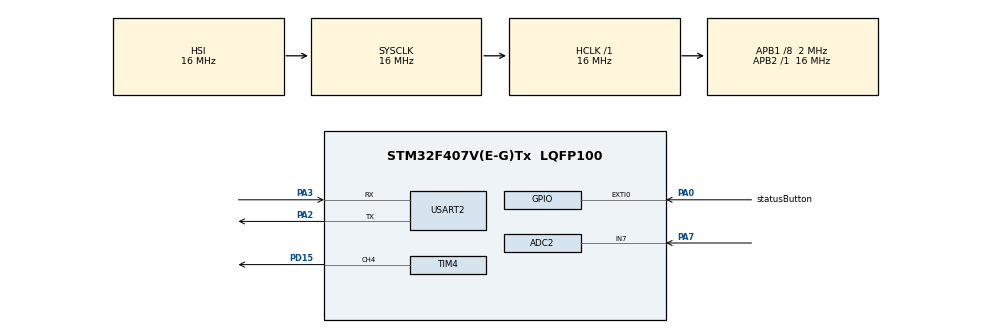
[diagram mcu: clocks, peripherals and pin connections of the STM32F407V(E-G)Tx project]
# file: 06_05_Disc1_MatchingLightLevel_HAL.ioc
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ADC2.Channel-4\#ChannelRegularConversion=ADC_CHANNEL_7
ADC2.NbrOfConversionFlag=1
ADC2.Rank-4\#ChannelRegularConversion=1
ADC2.SamplingTime-4\#ChannelRegularConversion=ADC_SAMPLETIME_3CYCLES
Mcu.Family=STM32F4
Mcu.Name=STM32F407V(E-G)Tx
Mcu.Package=LQFP100
NVIC.EXTI0_IRQn=true\:0\:0\:false\:false\:true\:true\:true\:true
NVIC.PriorityGroup=NVIC_PRIORITYGROUP_4
PA0-WKUP.GPIO_Label=statusButton
PA0-WKUP.Signal=GPXTI0
PA2.Mode=Asynchronous
PA2.Signal=USART2_TX
PA3.Mode=Asynchronous
PA3.Signal=USART2_RX
PA7.Signal=ADCx_IN7
PD15.Signal=S_TIM4_CH4
PH0-OSC_IN.Mode=HSE-External-Oscillator
PH0-OSC_IN.Signal=RCC_OSC_IN
PH1-OSC_OUT.Mode=HSE-External-Oscillator
PH1-OSC_OUT.Signal=RCC_OSC_OUT
ProjectManager.HeapSize=0x200
ProjectManager.StackSize=0x400
ProjectManager.TargetToolchain=STM32CubeIDE
RCC.48MHZClocksFreq_Value=24000000
RCC.AHBFreq_Value=16000000
RCC.APB1CLKDivider=RCC_HCLK_DIV8
RCC.APB1Freq_Value=2000000
RCC.APB1TimFreq_Value=4000000
RCC.APB2Freq_Value=16000000
RCC.CortexFreq_Value=16000000
RCC.HSE_VALUE=8000000
RCC.HSI_VALUE=16000000
RCC.LSE_VALUE=32768
RCC.PLLSourceVirtual=RCC_PLLSOURCE_HSE
RCC.SYSCLKFreq_VALUE=16000000
RCC.VCOOutputFreq_Value=96000000
SH.ADCx_IN7.0=ADC2_IN7,IN7
SH.S_TIM4_CH4.0=TIM4_CH4,PWM Generation4 CH4
TIM4.Channel-PWM\ Generation4\ CH4=TIM_CHANNEL_4
TIM4.Period=100
TIM4.Prescaler=16
USART2.VirtualMode=VM_ASYNC
board=custom

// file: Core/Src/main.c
/* USER CODE BEGIN Header */
/**
  ******************************************************************************
  * @file           : main.c
  * @brief          : Main program body
  ******************************************************************************
  * @attention
  *
  * Copyright (c) 2025 STMicroelectronics.
  * All rights reserved.
  *
  * This software is licensed under terms that can be found in the LICENSE file
  * in the root directory of this software component.
  * If no LICENSE file comes with this software, it is provided AS-IS.
  *
  ******************************************************************************
  */
/* USER CODE END Header */
#include "main.h"

ADC_HandleTypeDef hadc2;

TIM_HandleTypeDef htim4;

UART_HandleTypeDef huart2;

/* USER CODE BEGIN PV */

uint8_t status;
uint8_t isFirst;
/* USER CODE END PV */

void SystemClock_Config(void);
static void MX_GPIO_Init(void);
static void MX_TIM4_Init(void);
static void MX_ADC2_Init(void);
static void MX_USART2_UART_Init(void);

int main(void)
{

  /* USER CODE BEGIN 1 */
	uint8_t duty = 10;
	uint16_t adcValue = 0;
	status = 0x1;
	isFirst = 0x1;
  /* USER CODE END 1 */

  /* MCU Configuration--------------------------------------------------------*/

  /* Reset of all peripherals, Initializes the Flash interface and the Systick. */
  HAL_Init();

  /* Configure the system clock */
  SystemClock_Config();

  /* Initialize all configured peripherals */
  MX_GPIO_Init();
  MX_TIM4_Init();
  MX_ADC2_Init();
  MX_USART2_UART_Init();
  /* USER CODE BEGIN 2 */
  TIM4->CCR4 = duty;
  HAL_TIM_PWM_Start(&htim4, TIM_CHANNEL_4);
  /* USER CODE END 2 */

  /* Infinite loop */
  /* USER CODE BEGIN WHILE */
  while (1)
  {
	  if(status == 1){
		  if(isFirst == 1){
			  TIM4->CCR4 = 100;
			  HAL_Delay(100);
			  TIM4->CCR4 = 0;
			  HAL_Delay(100);
			  isFirst = 0;
		  }
		// first way
		HAL_UART_Receive(&huart2, &duty, 1, 20);
		if (duty == 200){
			  status ^= 0x1;
			  isFirst = 1;
		}
		TIM4->CCR4 = duty;
	  }
	  else if (status == 0){
		  if(isFirst == 1){
			  TIM4->CCR4 = 100;
			  HAL_Delay(100);
			  TIM4->CCR4 = 0;
			  HAL_Delay(100);
			  TIM4->CCR4 = 100;
			  HAL_Delay(100);
			  TIM4->CCR4 = 0;
			  HAL_Delay(100);
			  isFirst = 0;
		  }
		  // second way
		  HAL_ADC_Start(&hadc2);
		  HAL_ADC_PollForConversion(&hadc2, HAL_MAX_DELAY);
		  adcValue = HAL_ADC_GetValue(&hadc2);
		  duty = (int)((adcValue / 4096.0) * 100);
		  HAL_ADC_Stop(&hadc2);

		  HAL_UART_Transmit(&huart2, &duty, 1, 20);
		  TIM4->CCR4 = duty;

		  HAL_UART_Receive(&huart2, &duty, 1, 20);
		  if (duty == 200){
			  status ^= 0x1;
			  isFirst = 1;
		  }
	  }

    /* USER CODE END WHILE */

  }
}

void SystemClock_Config(void)
{
  RCC_OscInitTypeDef RCC_OscInitStruct = {0};
  RCC_ClkInitTypeDef RCC_ClkInitStruct = {0};

  /** Configure the main internal regulator output voltage
  */
  __HAL_RCC_PWR_CLK_ENABLE();
  __HAL_PWR_VOLTAGESCALING_CONFIG(PWR_REGULATOR_VOLTAGE_SCALE1);

  /** Initializes the RCC Oscillators according to the specified parameters
  * in the RCC_OscInitTypeDef structure.
  */
  RCC_OscInitStruct.OscillatorType = RCC_OSCILLATORTYPE_HSI;
  RCC_OscInitStruct.HSIState = RCC_HSI_ON;
  RCC_OscInitStruct.HSICalibrationValue = RCC_HSICALIBRATION_DEFAULT;
  RCC_OscInitStruct.PLL.PLLState = RCC_PLL_NONE;
  if (HAL_RCC_OscConfig(&RCC_OscInitStruct) != HAL_OK)
  {
    Error_Handler();
  }

  /** Initializes the CPU, AHB and APB buses clocks
  */
  RCC_ClkInitStruct.ClockType = RCC_CLOCKTYPE_HCLK|RCC_CLOCKTYPE_SYSCLK
                              |RCC_CLOCKTYPE_PCLK1|RCC_CLOCKTYPE_PCLK2;
  RCC_ClkInitStruct.SYSCLKSource = RCC_SYSCLKSOURCE_HSI;
  RCC_ClkInitStruct.AHBCLKDivider = RCC_SYSCLK_DIV1;
  RCC_ClkInitStruct.APB1CLKDivider = RCC_HCLK_DIV8;
  RCC_ClkInitStruct.APB2CLKDivider = RCC_HCLK_DIV1;

  if (HAL_RCC_ClockConfig(&RCC_ClkInitStruct, FLASH_LATENCY_0) != HAL_OK)
  {
    Error_Handler();
  }
}

static void MX_ADC2_Init(void)
{

  ADC_ChannelConfTypeDef sConfig = {0};

  /** Configure the global features of the ADC (Clock, Resolution, Data Alignment and number of conversion)
  */
  hadc2.Instance = ADC2;
  hadc2.Init.ClockPrescaler = ADC_CLOCK_SYNC_PCLK_DIV2;
  hadc2.Init.Resolution = ADC_RESOLUTION_12B;
  hadc2.Init.ScanConvMode = DISABLE;
  hadc2.Init.ContinuousConvMode = DISABLE;
  hadc2.Init.DiscontinuousConvMode = DISABLE;
  hadc2.Init.ExternalTrigConvEdge = ADC_EXTERNALTRIGCONVEDGE_NONE;
  hadc2.Init.ExternalTrigConv = ADC_SOFTWARE_START;
  hadc2.Init.DataAlign = ADC_DATAALIGN_RIGHT;
  hadc2.Init.NbrOfConversion = 1;
  hadc2.Init.DMAContinuousRequests = DISABLE;
  hadc2.Init.EOCSelection = ADC_EOC_SINGLE_CONV;
  if (HAL_ADC_Init(&hadc2) != HAL_OK)
  {
    Error_Handler();
  }

  /** Configure for the selected ADC regular channel its corresponding rank in the sequencer and its sample time.
  */
  sConfig.Channel = ADC_CHANNEL_7;
  sConfig.Rank = 1;
  sConfig.SamplingTime = ADC_SAMPLETIME_3CYCLES;
  if (HAL_ADC_ConfigChannel(&hadc2, &sConfig) != HAL_OK)
  {
    Error_Handler();
  }

}

static void MX_TIM4_Init(void)
{

  TIM_MasterConfigTypeDef sMasterConfig = {0};
  TIM_OC_InitTypeDef sConfigOC = {0};

  htim4.Instance = TIM4;
  htim4.Init.Prescaler = 16;
  htim4.Init.CounterMode = TIM_COUNTERMODE_UP;
  htim4.Init.Period = 100;
  htim4.Init.ClockDivision = TIM_CLOCKDIVISION_DIV1;
  htim4.Init.AutoReloadPreload = TIM_AUTORELOAD_PRELOAD_DISABLE;
  if (HAL_TIM_PWM_Init(&htim4) != HAL_OK)
  {
    Error_Handler();
  }
  sMasterConfig.MasterOutputTrigger = TIM_TRGO_RESET;
  sMasterConfig.MasterSlaveMode = TIM_MASTERSLAVEMODE_DISABLE;
  if (HAL_TIMEx_MasterConfigSynchronization(&htim4, &sMasterConfig) != HAL_OK)
  {
    Error_Handler();
  }
  sConfigOC.OCMode = TIM_OCMODE_PWM1;
  sConfigOC.Pulse = 0;
  sConfigOC.OCPolarity = TIM_OCPOLARITY_HIGH;
  sConfigOC.OCFastMode = TIM_OCFAST_DISABLE;
  if (HAL_TIM_PWM_ConfigChannel(&htim4, &sConfigOC, TIM_CHANNEL_4) != HAL_OK)
  {
    Error_Handler();
  }
  HAL_TIM_MspPostInit(&htim4);

}

static void MX_USART2_UART_Init(void)
{

  huart2.Instance = USART2;
  huart2.Init.BaudRate = 115200;
  huart2.Init.WordLength = UART_WORDLENGTH_8B;
  huart2.Init.StopBits = UART_STOPBITS_1;
  huart2.Init.Parity = UART_PARITY_NONE;
  huart2.Init.Mode = UART_MODE_TX_RX;
  huart2.Init.HwFlowCtl = UART_HWCONTROL_NONE;
  huart2.Init.OverSampling = UART_OVERSAMPLING_16;
  if (HAL_UART_Init(&huart2) != HAL_OK)
  {
    Error_Handler();
  }

}

static void MX_GPIO_Init(void)
{
  GPIO_InitTypeDef GPIO_InitStruct = {0};

  /* GPIO Ports Clock Enable */
  __HAL_RCC_GPIOH_CLK_ENABLE();
  __HAL_RCC_GPIOA_CLK_ENABLE();
  __HAL_RCC_GPIOD_CLK_ENABLE();

  /*Configure GPIO pin : statusButton_Pin */
  GPIO_InitStruct.Pin = statusButton_Pin;
  GPIO_InitStruct.Mode = GPIO_MODE_IT_RISING;
  GPIO_InitStruct.Pull = GPIO_NOPULL;
  HAL_GPIO_Init(statusButton_GPIO_Port, &GPIO_InitStruct);

  /* EXTI interrupt init*/
  HAL_NVIC_SetPriority(EXTI0_IRQn, 0, 0);
  HAL_NVIC_EnableIRQ(EXTI0_IRQn);

}

/* USER CODE BEGIN 4 */
void HAL_GPIO_EXTI_Callback(uint16_t GPIO_Pin)
{
  /* Prevent unused argument(s) compilation warning */
  UNUSED(GPIO_Pin);
  /* NOTE: This function Should not be modified, when the callback is needed,
           the HAL_GPIO_EXTI_Callback could be implemented in the user file
   */
  HAL_UART_Transmit(&huart2, 200, 1, HAL_MAX_DELAY);
  status ^= 0x1;
  isFirst = 1;

  // Don't use HAL_Delay here
  // Something wrong happens with GetTick inside if you want delay here use custom function
  // that subtracts numbers that you have calculated the time of

}
/* USER CODE END 4 */

void Error_Handler(void)
{
  __disable_irq();
  while (1)
  {
  }
}
